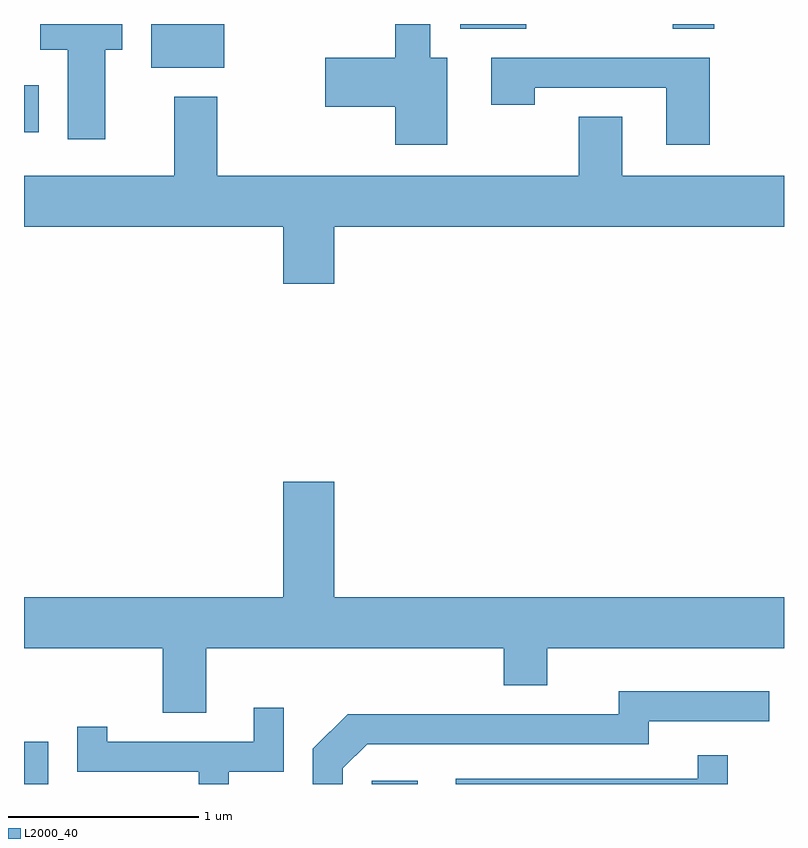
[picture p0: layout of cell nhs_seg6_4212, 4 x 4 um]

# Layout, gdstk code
import gdstk
lib = gdstk.Library(unit=1e-6, precision=1e-09)
def R(c, l, rs):  # rectangles x0, y0, x1, y1
    for r in rs: c.add(gdstk.rectangle(r[:2], r[2:], *l))
def P(c, l, *ps):  # polygons
    for p in ps: c.add(gdstk.Polygon(p, *l))
L2000_40 = (2000, 40)

nhs_seg6_4212 = lib.new_cell('nhs_seg6_4212')
R(nhs_seg6_4212, L2000_40, [(313.611,1598.162,313.739,1598.384), (315.441,1598.162,315.683,1598.179), (313.611,1601.591,313.689,1601.839), (314.281,1601.931,314.664,1602.162), (315.906,1602.136,316.254,1602.162), (317.026,1602.136,317.244,1602.162)])
P(nhs_seg6_4212, L2000_40, [(314.039,1602.026),(314.129,1602.026),(314.129,1602.162),(313.696,1602.162),(313.696,1602.026),(313.841,1602.026),(313.841,1601.556),(314.039,1601.556)],
  [(315.839,1601.984),(315.749,1601.984),(315.749,1602.162),(315.566,1602.162),(315.566,1601.984),(315.196,1601.984),(315.196,1601.726),(315.566,1601.726),(315.566,1601.526),(315.839,1601.526)],
  [(317.219,1601.984),(316.071,1601.984),(316.071,1601.736),(316.299,1601.736),(316.299,1601.826),(316.991,1601.826),(316.991,1601.526),(317.219,1601.526)],
  [(315.244,1601.096),(317.611,1601.096),(317.611,1601.364),(316.759,1601.364),(316.759,1601.674),(316.531,1601.674),(316.531,1601.364),(314.629,1601.364),(314.629,1601.779),(314.401,1601.779),(314.401,1601.364),(313.611,1601.364),(313.611,1601.096),(314.976,1601.096),(314.976,1600.796),(315.244,1600.796)],
  [(314.569,1598.876),(316.136,1598.876),(316.136,1598.681),(316.364,1598.681),(316.364,1598.876),(317.611,1598.876),(317.611,1599.144),(315.244,1599.144),(315.244,1599.754),(314.976,1599.754),(314.976,1599.144),(313.611,1599.144),(313.611,1598.876),(314.341,1598.876),(314.341,1598.536),(314.569,1598.536)],
  [(315.289,1598.244),(315.417,1598.371),(316.899,1598.371),(316.899,1598.491),(317.533,1598.491),(317.533,1598.649),(316.741,1598.649),(316.741,1598.529),(315.314,1598.529),(315.131,1598.347),(315.131,1598.162),(315.289,1598.162)],
  [(314.689,1598.226),(314.979,1598.226),(314.979,1598.563),(314.821,1598.563),(314.821,1598.384),(314.049,1598.384),(314.049,1598.463),(313.891,1598.463),(313.891,1598.226),(314.531,1598.226),(314.531,1598.162),(314.689,1598.162)],
  [(317.314,1598.313),(317.156,1598.313),(317.156,1598.189),(315.883,1598.189),(315.883,1598.162),(317.314,1598.162)])

lib.write_gds('nhs_seg6_4212.gds')
